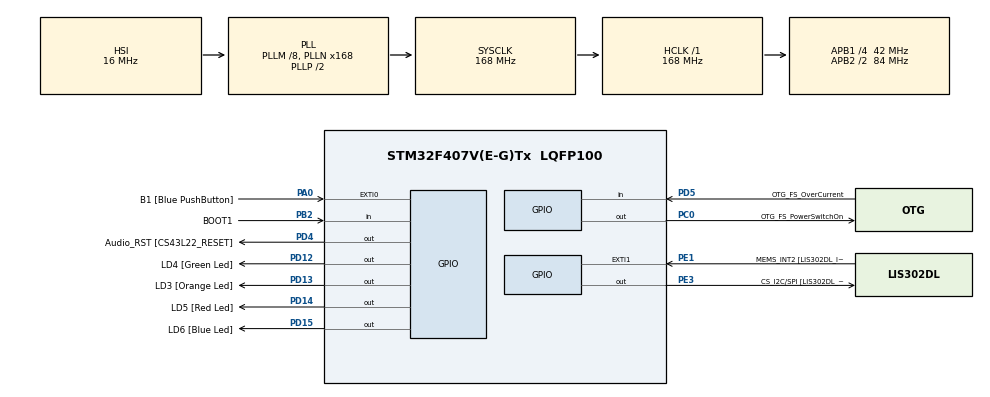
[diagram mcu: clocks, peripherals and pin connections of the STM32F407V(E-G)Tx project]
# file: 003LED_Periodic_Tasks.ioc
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Mcu.Family=STM32F4
Mcu.Name=STM32F407V(E-G)Tx
Mcu.Package=LQFP100
NVIC.PriorityGroup=NVIC_PRIORITYGROUP_4
NVIC.TIM6_DAC_IRQn=true\:0\:0\:false\:false\:true\:false\:true\:true
NVIC.TimeBase=TIM6_DAC_IRQn
NVIC.TimeBaseIP=TIM6
PA0-WKUP.GPIO_Label=B1 [Blue PushButton]
PA0-WKUP.Signal=GPXTI0
PA10.GPIO_Label=OTG_FS_ID
PA10.GPIO_Mode=GPIO_MODE_AF_PP
PA10.GPIO_PuPd=GPIO_NOPULL
PA10.GPIO_Speed=GPIO_SPEED_FREQ_LOW
PA10.Signal=USB_OTG_FS_ID
PA11.GPIO_Label=OTG_FS_DM
PA11.GPIO_Mode=GPIO_MODE_AF_PP
PA11.GPIO_PuPd=GPIO_NOPULL
PA11.GPIO_Speed=GPIO_SPEED_FREQ_LOW
PA11.Signal=USB_OTG_FS_DM
PA12.GPIO_Label=OTG_FS_DP
PA12.GPIO_Mode=GPIO_MODE_AF_PP
PA12.GPIO_PuPd=GPIO_NOPULL
PA12.GPIO_Speed=GPIO_SPEED_FREQ_LOW
PA12.Signal=USB_OTG_FS_DP
PA13.GPIO_Label=SWDIO
PA13.Signal=SYS_JTMS-SWDIO
PA14.GPIO_Label=SWCLK
PA14.Signal=SYS_JTCK-SWCLK
PA4.GPIO_Label=I2S3_WS [CS43L22_LRCK]
PA4.GPIO_Mode=GPIO_MODE_AF_PP
PA4.GPIO_PuPd=GPIO_NOPULL
PA4.GPIO_Speed=GPIO_SPEED_FREQ_LOW
PA4.Signal=I2S3_WS
PA5.GPIO_Label=SPI1_SCK [LIS302DL_SCL/SPC]
PA5.GPIO_Mode=GPIO_MODE_AF_PP
PA5.GPIO_PuPd=GPIO_NOPULL
PA5.GPIO_Speed=GPIO_SPEED_FREQ_LOW
PA5.Signal=SPI1_SCK
PA6.GPIO_Label=SPI1_MISO [LIS302DL_SDO]
PA6.GPIO_Mode=GPIO_MODE_AF_PP
PA6.GPIO_PuPd=GPIO_NOPULL
PA6.GPIO_Speed=GPIO_SPEED_FREQ_LOW
PA6.Signal=SPI1_MISO
PA7.GPIO_Label=SPI1_MOSI [LIS302DL_SDA/SDI/SDO]
PA7.GPIO_Mode=GPIO_MODE_AF_PP
PA7.GPIO_PuPd=GPIO_NOPULL
PA7.GPIO_Speed=GPIO_SPEED_FREQ_LOW
PA7.Signal=SPI1_MOSI
PA9.GPIO_Label=VBUS_FS
PA9.GPIO_Mode=GPIO_MODE_INPUT
PA9.GPIO_PuPd=GPIO_NOPULL
PA9.Signal=USB_OTG_FS_VBUS
PB10.GPIO_Label=CLK_IN [MP45DT02_CLK]
PB10.GPIO_Mode=GPIO_MODE_AF_PP
PB10.GPIO_PuPd=GPIO_NOPULL
PB10.GPIO_Speed=GPIO_SPEED_FREQ_LOW
PB10.Signal=I2S2_CK
PB2.GPIO_Label=BOOT1
PB2.GPIO_Mode=GPIO_MODE_INPUT
PB2.GPIO_PuPd=GPIO_NOPULL
PB2.Signal=GPIO_Input
PB3.GPIO_Label=SWO
PB3.Signal=SYS_JTDO-SWO
PB6.GPIO_Label=Audio_SCL [CS43L22_SCL]
PB6.GPIO_Mode=GPIO_MODE_AF_OD
PB6.GPIO_PuPd=GPIO_NOPULL
PB6.GPIO_Speed=GPIO_SPEED_FREQ_LOW
PB6.Signal=I2C1_SCL
PB9.GPIO_Label=Audio_SDA [CS43L22_SDA]
PB9.GPIO_Mode=GPIO_MODE_AF_OD
PB9.GPIO_PuPd=GPIO_NOPULL
PB9.GPIO_Speed=GPIO_SPEED_FREQ_LOW
PB9.Signal=I2C1_SDA
PC0.GPIO_Label=OTG_FS_PowerSwitchOn
PC0.GPIO_PuPd=GPIO_NOPULL
PC0.GPIO_Speed=GPIO_SPEED_FREQ_LOW
PC0.PinState=GPIO_PIN_SET
PC0.Signal=GPIO_Output
PC10.GPIO_Label=I2S3_SCK [CS43L22_SCLK]
PC10.GPIO_Mode=GPIO_MODE_AF_PP
PC10.GPIO_PuPd=GPIO_NOPULL
PC10.GPIO_Speed=GPIO_SPEED_FREQ_LOW
PC10.Signal=I2S3_CK
PC12.GPIO_Label=I2S3_SD [CS43L22_SDIN]
PC12.GPIO_Mode=GPIO_MODE_AF_PP
PC12.GPIO_PuPd=GPIO_NOPULL
PC12.GPIO_Speed=GPIO_SPEED_FREQ_LOW
PC12.Signal=I2S3_SD
PC14-OSC32_IN.GPIO_Label=PC14-OSC32_IN
PC14-OSC32_IN.Signal=RCC_OSC32_IN
PC15-OSC32_OUT.GPIO_Label=PC15-OSC32_OUT
PC15-OSC32_OUT.Signal=RCC_OSC32_OUT
PC3.GPIO_Label=PDM_OUT [MP45DT02_DOUT]
PC3.GPIO_Mode=GPIO_MODE_AF_PP
PC3.GPIO_PuPd=GPIO_NOPULL
PC3.GPIO_Speed=GPIO_SPEED_FREQ_LOW
PC3.Signal=I2S2_SD
PC7.GPIO_Label=I2S3_MCK [CS43L22_MCLK]
PC7.GPIO_Mode=GPIO_MODE_AF_PP
PC7.GPIO_PuPd=GPIO_NOPULL
PC7.GPIO_Speed=GPIO_SPEED_FREQ_LOW
PC7.Signal=I2S3_MCK
PD12.GPIO_Label=LD4 [Green Led]
PD12.GPIO_PuPd=GPIO_NOPULL
PD12.GPIO_Speed=GPIO_SPEED_FREQ_LOW
PD12.Signal=GPIO_Output
PD13.GPIO_Label=LD3 [Orange Led]
PD13.GPIO_PuPd=GPIO_NOPULL
PD13.GPIO_Speed=GPIO_SPEED_FREQ_LOW
PD13.Signal=GPIO_Output
PD14.GPIO_Label=LD5 [Red Led]
PD14.GPIO_PuPd=GPIO_NOPULL
PD14.GPIO_Speed=GPIO_SPEED_FREQ_LOW
PD14.Signal=GPIO_Output
PD15.GPIO_Label=LD6 [Blue Led]
PD15.GPIO_PuPd=GPIO_NOPULL
PD15.GPIO_Speed=GPIO_SPEED_FREQ_LOW
PD15.Signal=GPIO_Output
PD4.GPIO_Label=Audio_RST [CS43L22_RESET]
PD4.GPIO_PuPd=GPIO_NOPULL
PD4.GPIO_Speed=GPIO_SPEED_FREQ_LOW
PD4.Signal=GPIO_Output
PD5.GPIO_Label=OTG_FS_OverCurrent
PD5.GPIO_Mode=GPIO_MODE_INPUT
PD5.GPIO_PuPd=GPIO_NOPULL
PD5.Signal=GPIO_Input
PE1.GPIO_Label=MEMS_INT2 [LIS302DL_INT2]
PE1.GPIO_ModeDefaultEXTI=GPIO_MODE_EVT_RISING
PE1.GPIO_PuPd=GPIO_NOPULL
PE1.Signal=GPXTI1
PE3.GPIO_Label=CS_I2C/SPI [LIS302DL_CS_I2C/SPI]
PE3.GPIO_PuPd=GPIO_NOPULL
PE3.GPIO_Speed=GPIO_SPEED_FREQ_LOW
PE3.Signal=GPIO_Output
PH0-OSC_IN.GPIO_Label=PH0-OSC_IN
PH0-OSC_IN.Signal=RCC_OSC_IN
PH1-OSC_OUT.GPIO_Label=PH1-OSC_OUT
PH1-OSC_OUT.Signal=RCC_OSC_OUT
ProjectManager.HeapSize=0x200
ProjectManager.StackSize=0x400
ProjectManager.TargetToolchain=STM32CubeIDE
RCC.48MHZClocksFreq_Value=48000000
RCC.AHBFreq_Value=168000000
RCC.APB1CLKDivider=RCC_HCLK_DIV4
RCC.APB1Freq_Value=42000000
RCC.APB1TimFreq_Value=84000000
RCC.APB2CLKDivider=RCC_HCLK_DIV2
RCC.APB2Freq_Value=84000000
RCC.APB2TimFreq_Value=168000000
RCC.CortexFreq_Value=168000000
RCC.HCLKFreq_Value=168000000
RCC.HSE_VALUE=8000000
RCC.HSI_VALUE=16000000
RCC.LSE_VALUE=32768
RCC.PLLM=8
RCC.PLLN=168
RCC.PLLQ=7
RCC.SYSCLKFreq_VALUE=168000000
RCC.SYSCLKSource=RCC_SYSCLKSOURCE_PLLCLK
RCC.VCOOutputFreq_Value=336000000
VP_SYS_VS_tim6.Mode=TIM6
board=STM32F407G-DISC1

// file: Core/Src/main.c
/* USER CODE BEGIN Header */
/**
  ******************************************************************************
  * @file           : main.c
  * @brief          : Main program body
  ******************************************************************************
  * @attention
  *
  * Copyright (c) 2025 STMicroelectronics.
  * All rights reserved.
  *
  * This software is licensed under terms that can be found in the LICENSE file
  * in the root directory of this software component.
  * If no LICENSE file comes with this software, it is provided AS-IS.
  *
  ******************************************************************************
  */
/* USER CODE END Header */
#include "main.h"

/* USER CODE BEGIN Includes */
#include "FreeRTOS.h"
#include "task.h"
/* USER CODE END Includes */

/* USER CODE BEGIN PV */

#define DWT_CTRL 			(*(volatile uint32_t*)0xE0001000)

/* USER CODE END PV */

void SystemClock_Config(void);
static void MX_GPIO_Init(void);
/* USER CODE BEGIN PFP */
static void led_green_handler(void* parameters);
static void led_red_handler(void* parameters);
static void led_orange_handler(void* parameters);

extern void SEGGER_UART_init(uint32_t);
/* USER CODE END PFP */

int main(void)
{

  /* USER CODE BEGIN 1 */
	TaskHandle_t task1_handle;
	TaskHandle_t task2_handle;
	TaskHandle_t task3_handle;

	BaseType_t status;
  /* USER CODE END 1 */

  /* MCU Configuration--------------------------------------------------------*/

  /* Reset of all peripherals, Initializes the Flash interface and the Systick. */
  HAL_Init();

  /* Configure the system clock */
  SystemClock_Config();

  /* Initialize all configured peripherals */
  MX_GPIO_Init();
  /* USER CODE BEGIN 2 */

  SEGGER_UART_init(500000); //for uart communucation

  //CYCLCNT enable
  DWT_CTRL |= (1 << 0);

  SEGGER_SYSVIEW_Conf(); //for uart communucation

  status = xTaskCreate(led_green_handler, "LED_green_task", 200, NULL, 2, &task1_handle); //task1_handle is own TCB address

  configASSERT(status == pdPASS);

  status = xTaskCreate(led_red_handler, "LED_red_task", 200, NULL, 2, &task2_handle);

  configASSERT(status == pdPASS);

  status = xTaskCreate(led_orange_handler, "LED_orange_task", 200, NULL, 2, &task3_handle);

  configASSERT(status == pdPASS);

  //start the freeRTOS scheduler
  vTaskStartScheduler();

  /* USER CODE END 2 */

  /* Infinite loop */
  while (1)
  {

  }
}

void SystemClock_Config(void)
{
  RCC_OscInitTypeDef RCC_OscInitStruct = {0};
  RCC_ClkInitTypeDef RCC_ClkInitStruct = {0};

  /** Configure the main internal regulator output voltage
  */
  __HAL_RCC_PWR_CLK_ENABLE();
  __HAL_PWR_VOLTAGESCALING_CONFIG(PWR_REGULATOR_VOLTAGE_SCALE1);

  /** Initializes the RCC Oscillators according to the specified parameters
  * in the RCC_OscInitTypeDef structure.
  */
  RCC_OscInitStruct.OscillatorType = RCC_OSCILLATORTYPE_HSI;
  RCC_OscInitStruct.HSIState = RCC_HSI_ON;
  RCC_OscInitStruct.HSICalibrationValue = RCC_HSICALIBRATION_DEFAULT;
  RCC_OscInitStruct.PLL.PLLState = RCC_PLL_ON;
  RCC_OscInitStruct.PLL.PLLSource = RCC_PLLSOURCE_HSI;
  RCC_OscInitStruct.PLL.PLLM = 8;
  RCC_OscInitStruct.PLL.PLLN = 168;
  RCC_OscInitStruct.PLL.PLLP = RCC_PLLP_DIV2;
  RCC_OscInitStruct.PLL.PLLQ = 7;
  if (HAL_RCC_OscConfig(&RCC_OscInitStruct) != HAL_OK)
  {
    Error_Handler();
  }

  /** Initializes the CPU, AHB and APB buses clocks
  */
  RCC_ClkInitStruct.ClockType = RCC_CLOCKTYPE_HCLK|RCC_CLOCKTYPE_SYSCLK
                              |RCC_CLOCKTYPE_PCLK1|RCC_CLOCKTYPE_PCLK2;
  RCC_ClkInitStruct.SYSCLKSource = RCC_SYSCLKSOURCE_PLLCLK;
  RCC_ClkInitStruct.AHBCLKDivider = RCC_SYSCLK_DIV1;
  RCC_ClkInitStruct.APB1CLKDivider = RCC_HCLK_DIV4;
  RCC_ClkInitStruct.APB2CLKDivider = RCC_HCLK_DIV2;

  if (HAL_RCC_ClockConfig(&RCC_ClkInitStruct, FLASH_LATENCY_5) != HAL_OK)
  {
    Error_Handler();
  }
}

static void MX_GPIO_Init(void)
{
  GPIO_InitTypeDef GPIO_InitStruct = {0};

  /* GPIO Ports Clock Enable */
  __HAL_RCC_GPIOE_CLK_ENABLE();
  __HAL_RCC_GPIOC_CLK_ENABLE();
  __HAL_RCC_GPIOH_CLK_ENABLE();
  __HAL_RCC_GPIOA_CLK_ENABLE();
  __HAL_RCC_GPIOB_CLK_ENABLE();
  __HAL_RCC_GPIOD_CLK_ENABLE();

  /*Configure GPIO pin Output Level */
  HAL_GPIO_WritePin(CS_I2C_SPI_GPIO_Port, CS_I2C_SPI_Pin, GPIO_PIN_RESET);

  /*Configure GPIO pin Output Level */
  HAL_GPIO_WritePin(OTG_FS_PowerSwitchOn_GPIO_Port, OTG_FS_PowerSwitchOn_Pin, GPIO_PIN_SET);

  /*Configure GPIO pin Output Level */
  HAL_GPIO_WritePin(GPIOD, LD4_Pin|LD3_Pin|LD5_Pin|LD6_Pin
                          |Audio_RST_Pin, GPIO_PIN_RESET);

  /*Configure GPIO pin : CS_I2C_SPI_Pin */
  GPIO_InitStruct.Pin = CS_I2C_SPI_Pin;
  GPIO_InitStruct.Mode = GPIO_MODE_OUTPUT_PP;
  GPIO_InitStruct.Pull = GPIO_NOPULL;
  GPIO_InitStruct.Speed = GPIO_SPEED_FREQ_LOW;
  HAL_GPIO_Init(CS_I2C_SPI_GPIO_Port, &GPIO_InitStruct);

  /*Configure GPIO pin : OTG_FS_PowerSwitchOn_Pin */
  GPIO_InitStruct.Pin = OTG_FS_PowerSwitchOn_Pin;
  GPIO_InitStruct.Mode = GPIO_MODE_OUTPUT_PP;
  GPIO_InitStruct.Pull = GPIO_NOPULL;
  GPIO_InitStruct.Speed = GPIO_SPEED_FREQ_LOW;
  HAL_GPIO_Init(OTG_FS_PowerSwitchOn_GPIO_Port, &GPIO_InitStruct);

  /*Configure GPIO pin : PDM_OUT_Pin */
  GPIO_InitStruct.Pin = PDM_OUT_Pin;
  GPIO_InitStruct.Mode = GPIO_MODE_AF_PP;
  GPIO_InitStruct.Pull = GPIO_NOPULL;
  GPIO_InitStruct.Speed = GPIO_SPEED_FREQ_LOW;
  GPIO_InitStruct.Alternate = GPIO_AF5_SPI2;
  HAL_GPIO_Init(PDM_OUT_GPIO_Port, &GPIO_InitStruct);

  /*Configure GPIO pin : B1_Pin */
  GPIO_InitStruct.Pin = B1_Pin;
  GPIO_InitStruct.Mode = GPIO_MODE_IT_RISING;
  GPIO_InitStruct.Pull = GPIO_NOPULL;
  HAL_GPIO_Init(B1_GPIO_Port, &GPIO_InitStruct);

  /*Configure GPIO pin : I2S3_WS_Pin */
  GPIO_InitStruct.Pin = I2S3_WS_Pin;
  GPIO_InitStruct.Mode = GPIO_MODE_AF_PP;
  GPIO_InitStruct.Pull = GPIO_NOPULL;
  GPIO_InitStruct.Speed = GPIO_SPEED_FREQ_LOW;
  GPIO_InitStruct.Alternate = GPIO_AF6_SPI3;
  HAL_GPIO_Init(I2S3_WS_GPIO_Port, &GPIO_InitStruct);

  /*Configure GPIO pins : SPI1_SCK_Pin SPI1_MISO_Pin SPI1_MOSI_Pin */
  GPIO_InitStruct.Pin = SPI1_SCK_Pin|SPI1_MISO_Pin|SPI1_MOSI_Pin;
  GPIO_InitStruct.Mode = GPIO_MODE_AF_PP;
  GPIO_InitStruct.Pull = GPIO_NOPULL;
  GPIO_InitStruct.Speed = GPIO_SPEED_FREQ_LOW;
  GPIO_InitStruct.Alternate = GPIO_AF5_SPI1;
  HAL_GPIO_Init(GPIOA, &GPIO_InitStruct);

  /*Configure GPIO pin : BOOT1_Pin */
  GPIO_InitStruct.Pin = BOOT1_Pin;
  GPIO_InitStruct.Mode = GPIO_MODE_INPUT;
  GPIO_InitStruct.Pull = GPIO_NOPULL;
  HAL_GPIO_Init(BOOT1_GPIO_Port, &GPIO_InitStruct);

  /*Configure GPIO pin : CLK_IN_Pin */
  GPIO_InitStruct.Pin = CLK_IN_Pin;
  GPIO_InitStruct.Mode = GPIO_MODE_AF_PP;
  GPIO_InitStruct.Pull = GPIO_NOPULL;
  GPIO_InitStruct.Speed = GPIO_SPEED_FREQ_LOW;
  GPIO_InitStruct.Alternate = GPIO_AF5_SPI2;
  HAL_GPIO_Init(CLK_IN_GPIO_Port, &GPIO_InitStruct);

  /*Configure GPIO pins : LD4_Pin LD3_Pin LD5_Pin LD6_Pin
                           Audio_RST_Pin */
  GPIO_InitStruct.Pin = LD4_Pin|LD3_Pin|LD5_Pin|LD6_Pin
                          |Audio_RST_Pin;
  GPIO_InitStruct.Mode = GPIO_MODE_OUTPUT_PP;
  GPIO_InitStruct.Pull = GPIO_NOPULL;
  GPIO_InitStruct.Speed = GPIO_SPEED_FREQ_LOW;
  HAL_GPIO_Init(GPIOD, &GPIO_InitStruct);

  /*Configure GPIO pins : I2S3_MCK_Pin I2S3_SCK_Pin I2S3_SD_Pin */
  GPIO_InitStruct.Pin = I2S3_MCK_Pin|I2S3_SCK_Pin|I2S3_SD_Pin;
  GPIO_InitStruct.Mode = GPIO_MODE_AF_PP;
  GPIO_InitStruct.Pull = GPIO_NOPULL;
  GPIO_InitStruct.Speed = GPIO_SPEED_FREQ_LOW;
  GPIO_InitStruct.Alternate = GPIO_AF6_SPI3;
  HAL_GPIO_Init(GPIOC, &GPIO_InitStruct);

  /*Configure GPIO pin : VBUS_FS_Pin */
  GPIO_InitStruct.Pin = VBUS_FS_Pin;
  GPIO_InitStruct.Mode = GPIO_MODE_INPUT;
  GPIO_InitStruct.Pull = GPIO_NOPULL;
  HAL_GPIO_Init(VBUS_FS_GPIO_Port, &GPIO_InitStruct);

  /*Configure GPIO pins : OTG_FS_ID_Pin OTG_FS_DM_Pin OTG_FS_DP_Pin */
  GPIO_InitStruct.Pin = OTG_FS_ID_Pin|OTG_FS_DM_Pin|OTG_FS_DP_Pin;
  GPIO_InitStruct.Mode = GPIO_MODE_AF_PP;
  GPIO_InitStruct.Pull = GPIO_NOPULL;
  GPIO_InitStruct.Speed = GPIO_SPEED_FREQ_LOW;
  GPIO_InitStruct.Alternate = GPIO_AF10_OTG_FS;
  HAL_GPIO_Init(GPIOA, &GPIO_InitStruct);

  /*Configure GPIO pin : OTG_FS_OverCurrent_Pin */
  GPIO_InitStruct.Pin = OTG_FS_OverCurrent_Pin;
  GPIO_InitStruct.Mode = GPIO_MODE_INPUT;
  GPIO_InitStruct.Pull = GPIO_NOPULL;
  HAL_GPIO_Init(OTG_FS_OverCurrent_GPIO_Port, &GPIO_InitStruct);

  /*Configure GPIO pins : Audio_SCL_Pin Audio_SDA_Pin */
  GPIO_InitStruct.Pin = Audio_SCL_Pin|Audio_SDA_Pin;
  GPIO_InitStruct.Mode = GPIO_MODE_AF_OD;
  GPIO_InitStruct.Pull = GPIO_NOPULL;
  GPIO_InitStruct.Speed = GPIO_SPEED_FREQ_LOW;
  GPIO_InitStruct.Alternate = GPIO_AF4_I2C1;
  HAL_GPIO_Init(GPIOB, &GPIO_InitStruct);

  /*Configure GPIO pin : MEMS_INT2_Pin */
  GPIO_InitStruct.Pin = MEMS_INT2_Pin;
  GPIO_InitStruct.Mode = GPIO_MODE_EVT_RISING;
  GPIO_InitStruct.Pull = GPIO_NOPULL;
  HAL_GPIO_Init(MEMS_INT2_GPIO_Port, &GPIO_InitStruct);

}

/* USER CODE BEGIN 4 */
void vApplicationIdleHook( void ){
	HAL_PWR_EnterSLEEPMode(PWR_MAINREGULATOR_ON, PWR_SLEEPENTRY_WFI);
	//PWR_SLEEPENTRY_WFE for events, check the stm32f4xx_hal_pwr.c
}

static void led_green_handler(void* parameters){

	TickType_t last_wakeup_time;

	last_wakeup_time = xTaskGetTickCount();

	while(1){
		SEGGER_SYSVIEW_PrintfTarget("Toggling green LED");
		HAL_GPIO_TogglePin(GPIOD, LED_GREEN_PIN);
		//vTaskDelay(pdMS_TO_TICKS(1000));
		vTaskDelayUntil(&last_wakeup_time,pdMS_TO_TICKS(1000));
		//taskYIELD();
		/*
		 * When I use the word blocking in this context, it means that, it blocks the processor. That means, it keeps the processor engaged for the delay duration.
		 * Non blocking delay's means, they don't engage the CPU for the delay duration. For this exercise, let's just use HAL_DELAY function, which is given by the HAL cube layer,
		 * HAL_DELAY. You just have to mention the amount of delay in milliseconds, let me just write thousands here. As you can see, this is a blocking delay.
		 * If you just explore this HAL_DELAY, you see a while loop here.That's why, it keeps the processor engaged in this while loop, which is not a good idea to use here,
		 * but we will replace this delay with FreeRTOS provided non blocking delays which we'll discuss later.
		 */
	}
}

static void led_red_handler(void* parameters){

	TickType_t last_wakeup_time;

	last_wakeup_time = xTaskGetTickCount();

	while(1){
		SEGGER_SYSVIEW_PrintfTarget("Toggling red LED");
		HAL_GPIO_TogglePin(GPIOD, LED_RED_PIN);
		//vTaskDelay(pdMS_TO_TICKS(800));
		vTaskDelayUntil(&last_wakeup_time,pdMS_TO_TICKS(800));
		//taskYIELD();
	}
}

static void led_orange_handler(void* parameters){

	TickType_t last_wakeup_time;

	last_wakeup_time = xTaskGetTickCount();

	while(1){
		SEGGER_SYSVIEW_PrintfTarget("Toggling orange LED");
		HAL_GPIO_TogglePin(GPIOD, LED_ORANGE_PIN);
		//vTaskDelay(pdMS_TO_TICKS(400));
		vTaskDelayUntil(&last_wakeup_time,pdMS_TO_TICKS(400));
		//taskYIELD();
	}
}

/* USER CODE END 4 */

void HAL_TIM_PeriodElapsedCallback(TIM_HandleTypeDef *htim)
{
  if (htim->Instance == TIM6)
  {
    HAL_IncTick();
  }
}

void Error_Handler(void)
{
  __disable_irq();
  while (1)
  {
  }
}
